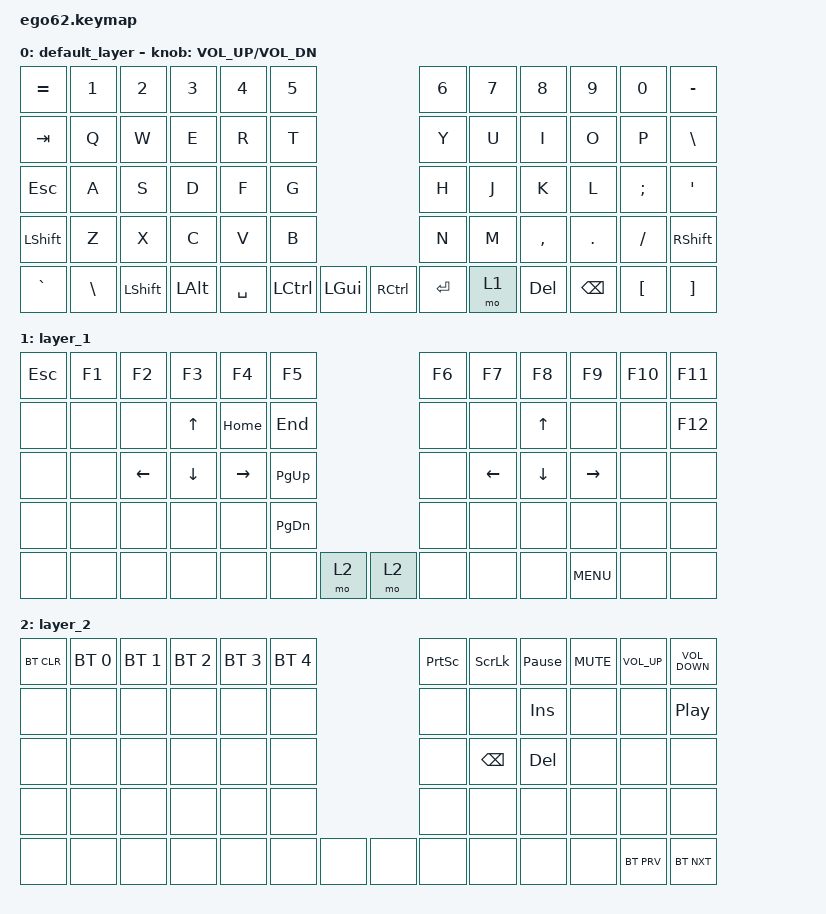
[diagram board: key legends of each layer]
/*
 * Copyright (c) 2020 The ZMK Contributors
 *
 * SPDX-License-Identifier: MIT
 */

#include <behaviors.dtsi>
#include <dt-bindings/zmk/bt.h>
#include <dt-bindings/zmk/keys.h>

/ {
    keymap {
        compatible = "zmk,keymap";

        default_layer {
            bindings = <
&kp EQUAL   &kp N1         &kp N2          &kp N3        &kp N4     &kp N5                              &kp N6     &kp N7  &kp N8      &kp N9         &kp N0         &kp MINUS
&kp TAB     &kp Q          &kp W           &kp E         &kp R      &kp T                               &kp Y      &kp U   &kp I       &kp O          &kp P          &kp BACKSLASH
&kp ESCAPE  &kp A          &kp S           &kp D         &kp F      &kp G                               &kp H      &kp J   &kp K       &kp L          &kp SEMICOLON  &kp SQT
&kp LSHFT   &kp Z          &kp X           &kp C         &kp V      &kp B                               &kp N      &kp M   &kp COMMA   &kp DOT        &kp FSLH       &kp RSHIFT
&kp GRAVE   &kp BACKSLASH  &kp LEFT_SHIFT  &kp LEFT_ALT  &kp SPACE  &kp LCTRL  &kp LEFT_GUI  &kp RCTRL  &kp ENTER  &mo 1   &kp DELETE  &kp BACKSPACE  &kp LBKT       &kp RBKT
            >;

            sensor-bindings = <&inc_dec_kp C_VOL_UP C_VOL_DN>;
        };

        layer_1 {
            bindings = <
&kp ESC  &kp F1  &kp F2          &kp F3          &kp F4           &kp F5                       &kp F6  &kp F7          &kp F8          &kp F9      &kp F10  &kp F11
&none    &none   &none           &kp UP_ARROW    &kp HOME         &kp END                      &none   &none           &kp UP_ARROW    &none       &none    &kp F12
&none    &none   &kp LEFT_ARROW  &kp DOWN_ARROW  &kp RIGHT_ARROW  &kp PAGE_UP                  &none   &kp LEFT_ARROW  &kp DOWN_ARROW  &kp RIGHT   &none    &none
&none    &none   &none           &none           &none            &kp PAGE_DOWN                &none   &none           &none           &none       &none    &none
&none    &none   &none           &none           &none            &none          &mo 2  &mo 2  &none   &none           &none           &kp C_MENU  &none    &none
            >;
        };

        layer_2 {
            bindings = <
&bt BT_CLR  &bt BT_SEL 0  &bt BT_SEL 1  &bt BT_SEL 2  &bt BT_SEL 3  &bt BT_SEL 4                &kp PRINTSCREEN  &kp SCROLLLOCK  &kp PAUSE_BREAK  &kp C_MUTE  &kp C_VOLUME_UP  &kp C_VOLUME_DOWN
&none       &none         &none         &none         &none         &none                       &none            &none           &kp INSERT       &none       &none            &kp C_PLAY_PAUSE
&none       &none         &none         &none         &none         &none                       &none            &kp BACKSPACE   &kp DELETE       &none       &none            &none
&none       &none         &none         &none         &none         &none                       &none            &none           &none            &none       &none            &none
&none       &none         &none         &none         &none         &none         &none  &none  &none            &none           &none            &none       &bt BT_PRV       &bt BT_NXT
            >;
        };
    };
};
